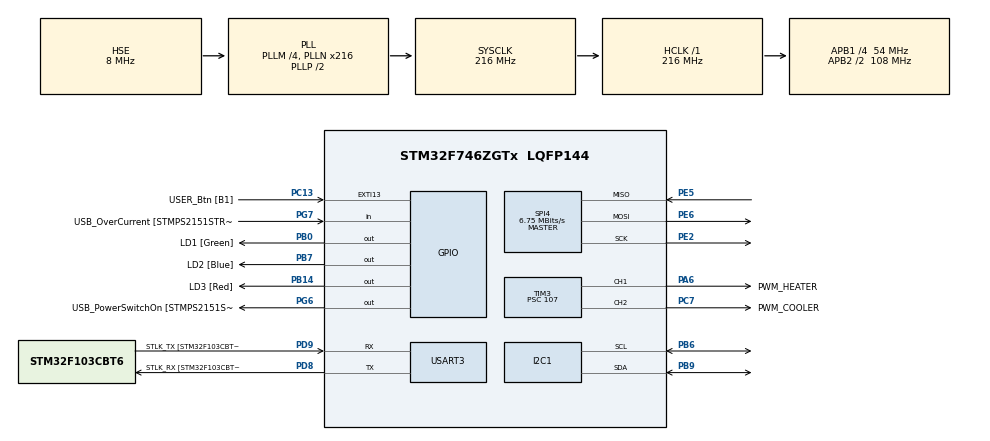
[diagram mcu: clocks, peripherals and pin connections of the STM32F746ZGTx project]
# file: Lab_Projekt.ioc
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ARM.CMSIS.5.7.0.CMSISJjCORE=true
ARM.CMSIS.5.7.0.CMSISJjDSP=Library
I2C1.Timing=0x20404768
Mcu.Family=STM32F7
Mcu.Name=STM32F746ZGTx
Mcu.Package=LQFP144
NVIC.PriorityGroup=NVIC_PRIORITYGROUP_4
NVIC.TIM2_IRQn=true\:0\:0\:false\:false\:true\:true\:true
NVIC.USART3_IRQn=true\:0\:0\:false\:false\:true\:true\:true
PA1.GPIO_Label=RMII_REF_CLK [LAN8742A-CZ-TR_REFCLK0]
PA1.Signal=ETH_REF_CLK
PA10.GPIO_Label=USB_ID
PA10.Signal=USB_OTG_FS_ID
PA11.GPIO_Label=USB_DM
PA11.Signal=USB_OTG_FS_DM
PA12.GPIO_Label=USB_DP
PA12.Signal=USB_OTG_FS_DP
PA13.GPIO_Label=TMS
PA13.Mode=Serial_Wire
PA13.Signal=SYS_JTMS-SWDIO
PA14.GPIO_Label=TCK
PA14.Mode=Serial_Wire
PA14.Signal=SYS_JTCK-SWCLK
PA2.GPIO_Label=RMII_MDIO [LAN8742A-CZ-TR_MDIO]
PA2.Signal=ETH_MDIO
PA6.GPIO_Label=PWM_HEATER
PA6.Signal=S_TIM3_CH1
PA7.GPIO_Label=RMII_CRS_DV [LAN8742A-CZ-TR_CRS_DV]
PA7.Signal=ETH_CRS_DV
PA8.GPIO_Label=USB_SOF [TP1]
PA8.Signal=USB_OTG_FS_SOF
PA9.GPIO_Label=USB_VBUS
PA9.Signal=USB_OTG_FS_VBUS
PB0.GPIO_Label=LD1 [Green]
PB0.Signal=GPIO_Output
PB13.GPIO_Label=RMII_TXD1 [LAN8742A-CZ-TR_TXD1]
PB13.Signal=ETH_TXD1
PB14.GPIO_Label=LD3 [Red]
PB14.Signal=GPIO_Output
PB3.GPIO_Label=SW0
PB3.Signal=SYS_JTDO-SWO
PB6.Mode=I2C
PB6.Signal=I2C1_SCL
PB7.GPIO_Label=LD2 [Blue]
PB7.Signal=GPIO_Output
PB9.Mode=I2C
PB9.Signal=I2C1_SDA
PC1.GPIO_Label=RMII_MDC [LAN8742A-CZ-TR_MDC]
PC1.Signal=ETH_MDC
PC13.GPIO_Label=USER_Btn [B1]
PC13.Signal=GPXTI13
PC14/OSC32_IN.Mode=LSE-External-Oscillator
PC14/OSC32_IN.Signal=RCC_OSC32_IN
PC15/OSC32_OUT.Mode=LSE-External-Oscillator
PC15/OSC32_OUT.Signal=RCC_OSC32_OUT
PC4.GPIO_Label=RMII_RXD0 [LAN8742A-CZ-TR_RXD0]
PC4.Signal=ETH_RXD0
PC5.GPIO_Label=RMII_RXD1 [LAN8742A-CZ-TR_RXD1]
PC5.Signal=ETH_RXD1
PC7.GPIO_Label=PWM_COOLER
PC7.Signal=S_TIM3_CH2
PD8.GPIO_Label=STLK_RX [STM32F103CBT6_PA3]
PD8.Mode=Asynchronous
PD8.Signal=USART3_TX
PD9.GPIO_Label=STLK_TX [STM32F103CBT6_PA2]
PD9.Mode=Asynchronous
PD9.Signal=USART3_RX
PE2.Mode=Full_Duplex_Master
PE2.Signal=SPI4_SCK
PE5.Mode=Full_Duplex_Master
PE5.Signal=SPI4_MISO
PE6.Mode=Full_Duplex_Master
PE6.Signal=SPI4_MOSI
PG11.GPIO_Label=RMII_TX_EN [LAN8742A-CZ-TR_TXEN]
PG11.Signal=ETH_TX_EN
PG13.GPIO_Label=RMII_TXD0 [LAN8742A-CZ-TR_TXD0]
PG13.Signal=ETH_TXD0
PG6.GPIO_Label=USB_PowerSwitchOn [STMPS2151STR_EN]
PG6.Signal=GPIO_Output
PG7.GPIO_Label=USB_OverCurrent [STMPS2151STR_FAULT]
PG7.Signal=GPIO_Input
PH0/OSC_IN.GPIO_Label=MCO [STM32F103CBT6_PA8]
PH0/OSC_IN.Mode=HSE-External-Clock-Source
PH0/OSC_IN.Signal=RCC_OSC_IN
PH1/OSC_OUT.Mode=HSE-External-Clock-Source
PH1/OSC_OUT.Signal=RCC_OSC_OUT
ProjectManager.HeapSize=0x200
ProjectManager.StackSize=0x400
ProjectManager.TargetToolchain=STM32CubeIDE
RCC.48MHZClocksFreq_Value=24000000
RCC.AHBFreq_Value=216000000
RCC.APB1CLKDivider=RCC_HCLK_DIV4
RCC.APB1Freq_Value=54000000
RCC.APB1TimFreq_Value=108000000
RCC.APB2CLKDivider=RCC_HCLK_DIV2
RCC.APB2Freq_Value=108000000
RCC.APB2TimFreq_Value=216000000
RCC.CortexFreq_Value=216000000
RCC.HCLKFreq_Value=216000000
RCC.HSE_VALUE=8000000
RCC.HSI_VALUE=16000000
RCC.PLLM=4
RCC.PLLMUL=RCC_PLL_MUL9
RCC.PLLN=216
RCC.PLLQ=9
RCC.PLLSourceVirtual=RCC_PLLSOURCE_HSE
RCC.PRESCALERUSB=RCC_USBCLKSOURCE_PLL_DIV1_5
RCC.SYSCLKFreq_VALUE=216000000
RCC.SYSCLKSource=RCC_SYSCLKSOURCE_PLLCLK
RCC.SYSCLKSourceVirtual=RCC_SYSCLKSOURCE_PLLCLK
RCC.USBFreq_Value=48000000
RCC.VCOOutputFreq_Value=432000000
SH.S_TIM3_CH1.0=TIM3_CH1,PWM Generation1 CH1
SH.S_TIM3_CH2.0=TIM3_CH2,PWM Generation2 CH2
SPI4.BaudRatePrescaler=SPI_BAUDRATEPRESCALER_16
SPI4.CLKPhase=SPI_PHASE_2EDGE
SPI4.CLKPolarity=SPI_POLARITY_HIGH
SPI4.CalculateBaudRate=6.75 MBits/s
SPI4.DataSize=SPI_DATASIZE_8BIT
SPI4.Direction=SPI_DIRECTION_2LINES
SPI4.Mode=SPI_MODE_MASTER
SPI4.VirtualType=VM_MASTER
TIM2.Period=999
TIM2.Prescaler=107
TIM3.Channel-PWM\ Generation1\ CH1=TIM_CHANNEL_1
TIM3.Channel-PWM\ Generation2\ CH2=TIM_CHANNEL_2
TIM3.Period=999
TIM3.Prescaler=107
TIM3.Pulse-PWM\ Generation1\ CH1=500
TIM3.Pulse-PWM\ Generation2\ CH2=500
USART3.VirtualMode-Asynchronous=VM_ASYNC
VP_ARM.CMSIS_VS_CMSISJjCORE_5.4.0.Mode=CMSISJjCORE
VP_ARM.CMSIS_VS_CMSISJjDSP_1.8.0.Mode=CMSISJjDSP
VP_TIM2_VS_ClockSourceINT.Mode=Internal
VP_TIM3_VS_ClockSourceINT.Mode=Internal
board=NUCLEO-F746ZG

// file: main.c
/* USER CODE BEGIN Header */
/**
  ******************************************************************************
  * @file           : main.c
  * @brief          : Main program body
  ******************************************************************************
  * @attention
  *
  * <h2><center>&copy; Copyright (c) 2019 STMicroelectronics.
  * All rights reserved.</center></h2>
  *
  * This software component is licensed by ST under BSD 3-Clause license,
  * the "License"; You may not use this file except in compliance with the
  * License. You may obtain a copy of the License at:
  *                        opensource.org/licenses/BSD-3-Clause
  *
  ******************************************************************************
  */
/* USER CODE END Header */
#include "main.h"
#include "i2c.h"
#include "spi.h"
#include "tim.h"
#include "usart.h"
#include "gpio.h"

/* USER CODE BEGIN Includes */
#include "stdio.h"
#include "stdlib.h"
#include "bmp280.h"
#include "bmp280_add.h"
#include "string.h"
#include "arm_math.h"
#include "defs.h"
/* USER CODE END Includes */

void SystemClock_Config(void);

/* USER CODE BEGIN 0 */
//Zmienne przechowujące pomiar
double temp = 0.0;
int32_t temp32 = 0;
float32_t temp_f = 0.0;
//Buffory do wyświetlania temperatury
char dane[20];
char num[12];
//Instacja filtru PID i uchyb
arm_pid_instance_f32 pid;
float32_t error = 0.0;
//Wypełnienie sygnałów PWM rezystora i wentylatora
int wypelnienie_heater = 0;
int wypelnienie_cooler = 0;
//Sygnał sterujący i wartość zadana
float32_t u = 0;
float32_t x_zad = 25.0;
void HAL_TIM_PeriodElapsedCallback(TIM_HandleTypeDef *htim){
	if(htim == &htim2){
		  BMP280_read(&temp, &temp32);
		  temp_f = (float32_t)temp;
		  error = x_zad - temp_f;
		  u = arm_pid_f32(&pid,error)*10.0;
		  if(u>=0){
			  wypelnienie_heater = (int)u;
		  	  wypelnienie_cooler = 0;
		  };
		  if(u<0){
			  wypelnienie_heater = 0;
		  };
		  if(u<-500){
			  wypelnienie_cooler = -(int)u;
		  }
		  __HAL_TIM_SET_COMPARE(&htim3, TIM_CHANNEL_1, wypelnienie_heater);
		  __HAL_TIM_SET_COMPARE(&htim3, TIM_CHANNEL_2, wypelnienie_cooler);
		  sprintf(num,"%d", temp32);
		  sprintf(dane,"%c%c.%c%c\r", num[0], num[1], num[2], num[3]);

		  HAL_UART_Transmit(&huart3, dane, strlen(dane), 5);
	}
}

char rx_buffer[20];
void HAL_UART_RxCpltCallback(UART_HandleTypeDef *huart){
	if(huart == &huart3){
		char* pend;
		x_zad = strtof(rx_buffer,&pend);
		HAL_UART_Receive_IT(&huart3, rx_buffer, 4);
	}
}
/* USER CODE END 0 */

int main(void)
{

  /* MCU Configuration--------------------------------------------------------*/

  /* Reset of all peripherals, Initializes the Flash interface and the Systick. */
  HAL_Init();

  /* Configure the system clock */
  SystemClock_Config();

  /* Initialize all configured peripherals */
  MX_GPIO_Init();
  MX_USART3_UART_Init();
  MX_SPI4_Init();
  MX_I2C1_Init();
  MX_TIM2_Init();
  MX_TIM3_Init();
  /* USER CODE BEGIN 2 */

  //Inicjalizacja czujnika
  int8_t rslt = BMP280_init();
  //Wystartowanie TIM2 z okresem próbkowania Ts = 62.5 ms
  uint32_t okres = OKRES_PROBKOWANIA;
  HAL_TIM_Base_Start_IT(&htim2);
  __HAL_TIM_SET_AUTORELOAD(&htim2, okres);
  //Wystartowanie kanałów PWM
  HAL_TIM_PWM_Start(&htim3, TIM_CHANNEL_1);
  HAL_TIM_PWM_Start(&htim3, TIM_CHANNEL_2);
  __HAL_TIM_SET_COMPARE(&htim3, TIM_CHANNEL_1, wypelnienie_heater);
  __HAL_TIM_SET_COMPARE(&htim3, TIM_CHANNEL_2, wypelnienie_cooler);
  //Wystartowanie UART3
  HAL_UART_Receive_IT(&huart3, rx_buffer, 4);

  //Inicjalizacja regulatora PID
	pid.Kp = PID_KP;
	pid.Ki = PID_KI;
	pid.Kd = PID_KD;
	arm_pid_init_f32(&pid,1);
  /* USER CODE END 2 */

  /* Infinite loop */
  while (1)
  {

  }
}

void SystemClock_Config(void)
{
  RCC_OscInitTypeDef RCC_OscInitStruct = {0};
  RCC_ClkInitTypeDef RCC_ClkInitStruct = {0};
  RCC_PeriphCLKInitTypeDef PeriphClkInitStruct = {0};

  /** Configure LSE Drive Capability
  */
  HAL_PWR_EnableBkUpAccess();
  /** Configure the main internal regulator output voltage
  */
  __HAL_RCC_PWR_CLK_ENABLE();
  __HAL_PWR_VOLTAGESCALING_CONFIG(PWR_REGULATOR_VOLTAGE_SCALE1);
  /** Initializes the RCC Oscillators according to the specified parameters
  * in the RCC_OscInitTypeDef structure.
  */
  RCC_OscInitStruct.OscillatorType = RCC_OSCILLATORTYPE_HSE;
  RCC_OscInitStruct.HSEState = RCC_HSE_BYPASS;
  RCC_OscInitStruct.PLL.PLLState = RCC_PLL_ON;
  RCC_OscInitStruct.PLL.PLLSource = RCC_PLLSOURCE_HSE;
  RCC_OscInitStruct.PLL.PLLM = 4;
  RCC_OscInitStruct.PLL.PLLN = 216;
  RCC_OscInitStruct.PLL.PLLP = RCC_PLLP_DIV2;
  RCC_OscInitStruct.PLL.PLLQ = 9;
  if (HAL_RCC_OscConfig(&RCC_OscInitStruct) != HAL_OK)
  {
    Error_Handler();
  }
  /** Activate the Over-Drive mode
  */
  if (HAL_PWREx_EnableOverDrive() != HAL_OK)
  {
    Error_Handler();
  }
  /** Initializes the CPU, AHB and APB buses clocks
  */
  RCC_ClkInitStruct.ClockType = RCC_CLOCKTYPE_HCLK|RCC_CLOCKTYPE_SYSCLK
                              |RCC_CLOCKTYPE_PCLK1|RCC_CLOCKTYPE_PCLK2;
  RCC_ClkInitStruct.SYSCLKSource = RCC_SYSCLKSOURCE_PLLCLK;
  RCC_ClkInitStruct.AHBCLKDivider = RCC_SYSCLK_DIV1;
  RCC_ClkInitStruct.APB1CLKDivider = RCC_HCLK_DIV4;
  RCC_ClkInitStruct.APB2CLKDivider = RCC_HCLK_DIV2;

  if (HAL_RCC_ClockConfig(&RCC_ClkInitStruct, FLASH_LATENCY_7) != HAL_OK)
  {
    Error_Handler();
  }
  PeriphClkInitStruct.PeriphClockSelection = RCC_PERIPHCLK_USART3|RCC_PERIPHCLK_I2C1;
  PeriphClkInitStruct.Usart3ClockSelection = RCC_USART3CLKSOURCE_PCLK1;
  PeriphClkInitStruct.I2c1ClockSelection = RCC_I2C1CLKSOURCE_PCLK1;
  if (HAL_RCCEx_PeriphCLKConfig(&PeriphClkInitStruct) != HAL_OK)
  {
    Error_Handler();
  }
}

void Error_Handler(void)
{
}

/************************ (C) COPYRIGHT STMicroelectronics *****END OF FILE****/
